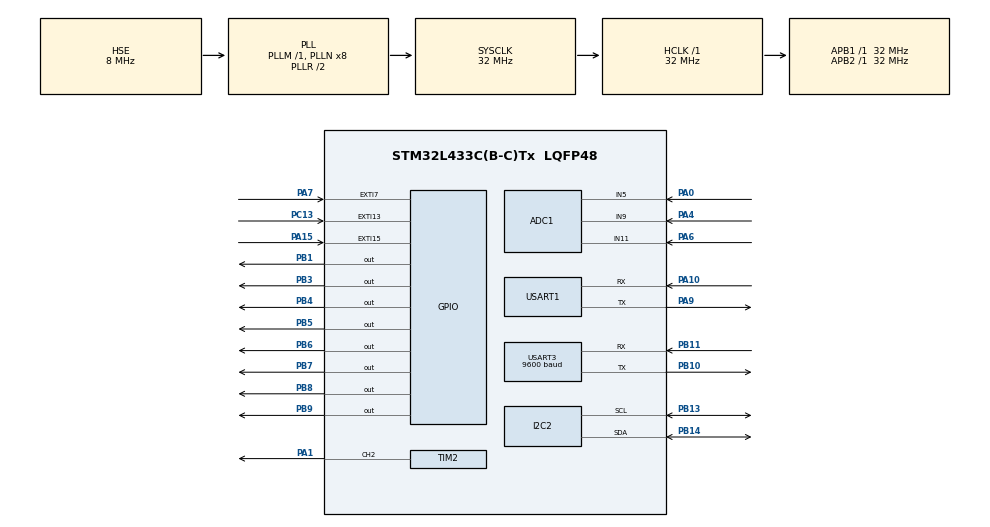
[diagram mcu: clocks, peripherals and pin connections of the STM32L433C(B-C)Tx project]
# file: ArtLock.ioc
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ADC1.Channel-0\#ChannelRegularConversion=ADC_CHANNEL_9
ADC1.Channel-1\#ChannelRegularConversion=ADC_CHANNEL_11
ADC1.Channel-2\#ChannelRegularConversion=ADC_CHANNEL_5
ADC1.ContinuousConvMode=ENABLE
ADC1.DMAContinuousRequests=ENABLE
ADC1.NbrOfConversion=3
ADC1.NbrOfConversionFlag=1
ADC1.OffsetNumber-0\#ChannelRegularConversion=ADC_OFFSET_NONE
ADC1.OffsetNumber-1\#ChannelRegularConversion=ADC_OFFSET_NONE
ADC1.OffsetNumber-2\#ChannelRegularConversion=ADC_OFFSET_NONE
ADC1.Rank-0\#ChannelRegularConversion=1
ADC1.Rank-1\#ChannelRegularConversion=2
ADC1.Rank-2\#ChannelRegularConversion=3
ADC1.SamplingTime-0\#ChannelRegularConversion=ADC_SAMPLETIME_2CYCLES_5
ADC1.SamplingTime-1\#ChannelRegularConversion=ADC_SAMPLETIME_2CYCLES_5
ADC1.SamplingTime-2\#ChannelRegularConversion=ADC_SAMPLETIME_2CYCLES_5
ADC1.master=1
Dma.ADC1.0.Direction=DMA_PERIPH_TO_MEMORY
Dma.ADC1.0.Instance=DMA1_Channel1
Dma.ADC1.0.MemDataAlignment=DMA_MDATAALIGN_HALFWORD
Dma.ADC1.0.MemInc=DMA_MINC_ENABLE
Dma.ADC1.0.Mode=DMA_NORMAL
Dma.ADC1.0.PeriphDataAlignment=DMA_PDATAALIGN_HALFWORD
Dma.ADC1.0.PeriphInc=DMA_PINC_DISABLE
Dma.ADC1.0.Priority=DMA_PRIORITY_LOW
Dma.Request0=ADC1
I2C2.Timing=0x00707CBB
Mcu.Family=STM32L4
Mcu.Name=STM32L433C(B-C)Tx
Mcu.Package=LQFP48
NVIC.DMA1_Channel1_IRQn=true\:0\:0\:false\:false\:true\:false\:true
NVIC.EXTI15_10_IRQn=true\:4\:0\:true\:false\:true\:true\:true
NVIC.PriorityGroup=NVIC_PRIORITYGROUP_4
NVIC.USART1_IRQn=true\:3\:0\:true\:false\:true\:true\:true
NVIC.USART3_IRQn=true\:1\:0\:true\:false\:true\:true\:true
PA0.Signal=ADCx_IN5
PA1.Signal=S_TIM2_CH2
PA10.Mode=Asynchronous
PA10.Signal=USART1_RX
PA13\ (JTMS-SWDIO).Mode=Serial_Wire
PA13\ (JTMS-SWDIO).Signal=SYS_JTMS-SWDIO
PA14\ (JTCK-SWCLK).Mode=Serial_Wire
PA14\ (JTCK-SWCLK).Signal=SYS_JTCK-SWCLK
PA15\ (JTDI).GPIO_PuPd=GPIO_PULLUP
PA15\ (JTDI).Signal=GPXTI15
PA4.Signal=ADCx_IN9
PA6.Signal=ADCx_IN11
PA7.GPIO_PuPd=GPIO_PULLUP
PA7.Signal=GPXTI7
PA9.Mode=Asynchronous
PA9.Signal=USART1_TX
PB1.Signal=GPIO_Output
PB10.Mode=Asynchronous
PB10.Signal=USART3_TX
PB11.Mode=Asynchronous
PB11.Signal=USART3_RX
PB13.Mode=I2C
PB13.Signal=I2C2_SCL
PB14.Mode=I2C
PB14.Signal=I2C2_SDA
PB3\ (JTDO-TRACESWO).Signal=GPIO_Output
PB4\ (NJTRST).PinState=GPIO_PIN_RESET
PB4\ (NJTRST).Signal=GPIO_Output
PB5.PinState=GPIO_PIN_SET
PB5.Signal=GPIO_Output
PB6.PinState=GPIO_PIN_SET
PB6.Signal=GPIO_Output
PB7.PinState=GPIO_PIN_SET
PB7.Signal=GPIO_Output
PB8.Signal=GPIO_Output
PB9.Signal=GPIO_Output
PC13.GPIO_PuPd=GPIO_PULLUP
PC13.Signal=GPXTI13
PC14-OSC32_IN\ (PC14).Mode=LSE-External-Oscillator
PC14-OSC32_IN\ (PC14).Signal=RCC_OSC32_IN
PC15-OSC32_OUT\ (PC15).Mode=LSE-External-Oscillator
PC15-OSC32_OUT\ (PC15).Signal=RCC_OSC32_OUT
PH0-OSC_IN\ (PH0).Mode=HSE-External-Oscillator
PH0-OSC_IN\ (PH0).Signal=RCC_OSC_IN
PH1-OSC_OUT\ (PH1).Mode=HSE-External-Oscillator
PH1-OSC_OUT\ (PH1).Signal=RCC_OSC_OUT
ProjectManager.HeapSize=0x200
ProjectManager.StackSize=0x400
ProjectManager.TargetToolchain=STM32CubeIDE
RCC.ADCFreq_Value=64000000
RCC.AHBFreq_Value=32000000
RCC.APB1Freq_Value=32000000
RCC.APB1TimFreq_Value=32000000
RCC.APB2Freq_Value=32000000
RCC.APB2TimFreq_Value=32000000
RCC.CortexFreq_Value=32000000
RCC.HCLKFreq_Value=32000000
RCC.HSE_VALUE=8000000
RCC.HSI48_VALUE=48000000
RCC.HSI_VALUE=16000000
RCC.MSI_VALUE=4000000
RCC.PLLSAI1N=16
RCC.PLLSourceVirtual=RCC_PLLSOURCE_HSE
RCC.SYSCLKFreq_VALUE=32000000
RCC.SYSCLKSource=RCC_SYSCLKSOURCE_PLLCLK
RCC.USBFreq_Value=64000000
RCC.VCOOutputFreq_Value=64000000
SH.ADCx_IN11.0=ADC1_IN11,IN11-Single-Ended
SH.ADCx_IN5.0=ADC1_IN5,IN5-Single-Ended
SH.ADCx_IN9.0=ADC1_IN9,IN9-Single-Ended
SH.S_TIM2_CH2.0=TIM2_CH2,PWM Generation2 CH2
TIM2.Channel-PWM\ Generation2\ CH2=TIM_CHANNEL_2
TIM2.Period=370-1
TIM2.Prescaler=32-1
TIM2.Pulse-PWM\ Generation2\ CH2=180
USART1.VirtualMode-Asynchronous=VM_ASYNC
USART3.BaudRate=9600
USART3.VirtualMode-Asynchronous=VM_ASYNC
board=custom

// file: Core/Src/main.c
/* USER CODE BEGIN Header */
/**
 ******************************************************************************
 * @file           : main.c
 * @brief          : Main program body
 ******************************************************************************
 * @attention
 *
 * <h2><center>&copy; Copyright (c) 2019 STMicroelectronics.
 * All rights reserved.</center></h2>
 *
 * This software component is licensed by ST under BSD 3-Clause license,
 * the "License"; You may not use this file except in compliance with the
 * License. You may obtain a copy of the License at:
 *                        opensource.org/licenses/BSD-3-Clause
 *
 ******************************************************************************
 */
/* USER CODE END Header */

#include "main.h"
#include "adc.h"
#include "dma.h"
#include "i2c.h"
#include "tim.h"
#include "usart.h"
#include "gpio.h"

/* USER CODE BEGIN Includes */
#include <stdio.h>
#include <string.h>
#include <stdlib.h>
#include "oled.h"
#include "nbiot.h"
/* USER CODE END Includes */

void SystemClock_Config(void);

/* USER CODE BEGIN 0 */
int KE1_Parse_NNMI(char *pcNNMI, char *pcOut)
{
	char ch = 0, lenFlag = 0, dataFlag = 0;
	char acLen[5] = {0};
	int i = 0, pos = 0, dLen = 0;
	//+NNMI:6,010009020000
	for(i=0; i<strlen(pcNNMI); i++){
		ch = pcNNMI[i];
		if(0x0D == ch && 1 == dataFlag) break;

		if(':' == ch){
			lenFlag = 1; pos = 0;
			continue;
		}
		if(',' == ch){
			lenFlag = 0;
			dataFlag = 1; pos = 0;
			dLen = atoi(acLen);
			continue;
		}
		if(1 == lenFlag){
			acLen[pos++] = ch;
		}
		if(1 == dataFlag){
			pcOut[pos++] = ch;
		}
	}
	return dLen;
}

void ascii2hex(char *pcAscii, char *pcHex)
{
	int iDlen = 0, i = 0, pos = 0;
	iDlen = strlen(pcAscii);
	if(128 < iDlen) return;
	for(i=0; i<iDlen; i++){
		sprintf(&pcHex[pos], "%02X", pcAscii[i]);
		pos += 2;
	}
}
extern unsigned char fingerprint, boxstate, autobeep;
// 是否开启自动报警，默认开。指纹认证后十分钟内关闭，或关上盖子关闭
unsigned char low_alarm = 1;
// 认证ing
unsigned char authing = 0;
// 认证过
unsigned char authed = 0;

char acDevInfo[128] = {0}, acHexBuf[256] = {0}, acAtBuf[512] = {0}, acUserCmd[64] = {0};
float tMax, tMin, hMax, hMin, iMax, iMin;

// 网络任务事件
uint32_t nettickstart;

// 控制灯光
unsigned char rstate = 0, gstate = 0, bstate = 0;
typedef enum{
	RED_LIGHT = 0x0020,
	GREEN_LIGHT = 0x0040,
	BLUE_LIGHT = 0x0080
}SELF_LIGHT;
void switch_light(SELF_LIGHT light, int st){
	unsigned char flag = 1;
	switch(light){
	case RED_LIGHT:
		if(rstate == st){
			flag = 0;
		}
		break;
	case GREEN_LIGHT:
		if(gstate == st){
			flag = 0;
		}
		break;
	case BLUE_LIGHT:
		if(bstate == st){
			flag = 0;
		}
		break;
	}
	if (flag == 1){
		HAL_GPIO_TogglePin(GPIOB, ((uint16_t)light));
	}
}

// 延时时间队列，延时记录为毫秒
typedef struct eventlist
{
	uint32_t time;
	void(*p)();
	struct eventlist *next;
} EventList;

EventList * DelayEvent;
// 添加延时行为，单位为毫秒
void addEvent(int microseconds, void(*ev)()){
    EventList* head = DelayEvent;

    uint32_t current = HAL_GetTick() + microseconds;
    EventList *node = (EventList *)malloc(sizeof(EventList));
    node->time = current;
    node->p = ev;
    node->next = NULL;

    if (NULL == head)
    {
        DelayEvent = node;
    } else
    {
        if (head->time > current)
        {
            node->next = head;
            DelayEvent = node;
            return;
        }
        while(head->next != NULL){     //当头节点的指针域不为NULL
            if (head->next->time > current)
            {
                node->next = head->next;
                head->next = node;
                return;
            }
            head = head->next;             //pr指向下一个节点的地址
        }
        head->next = node;
    }
}
// 执行延时行为
void executEvent(){
    uint32_t current = HAL_GetTick();
	if (NULL == DelayEvent)
	{
		return;
	}
    if (current >= DelayEvent->time)
    {
        DelayEvent->p();
		EventList *node = DelayEvent;
        DelayEvent = DelayEvent->next;
		free(node);
    }
}

void undoAuthing(){
	authing = 0;
}

void undoAuthed(){
	authed = 0;
}
/* USER CODE END 0 */

int main(void)
{
  /* USER CODE BEGIN 1 */
	const char *pcVersion = "V0.1.7";
	float fTemp = 34.2, fHumi = 0.0;
	unsigned short usLight = 0, usSound = 0, usVoltage = 0;

	int iUserCase = 0, iRet = -1, tryCnt = 0, iSigVal = 0;

	char netFlag = 0, cmdLen = 0, acSigVal[3] = {0};

	unsigned int atLen = 0, dLen = 0, timeout = 1000, upDevFreq = 0, upNetFreq = 0;
	int nbSP = 0, nbCCID = 0, nbSNR = 0;
	unsigned char nbECL = 0;

  /* USER CODE END 1 */

  /* MCU Configuration--------------------------------------------------------*/

  /* Reset of all peripherals, Initializes the Flash interface and the Systick. */
  HAL_Init();

  /* USER CODE BEGIN Init */
	nettickstart = HAL_GetTick();
  /* USER CODE END Init */

  /* Configure the system clock */
  SystemClock_Config();

  /* Initialize all configured peripherals */
  MX_GPIO_Init();
  MX_DMA_Init();
  MX_ADC1_Init();
  MX_USART1_UART_Init();
  MX_USART3_UART_Init();
  MX_I2C2_Init();
  MX_TIM2_Init();
  /* USER CODE BEGIN 2 */
//	Beep_Switch(1);
//	HAL_Delay(500);
//	Beep_Switch(0);

	UART_Enable_Receive_IT();// 使能串口接收中断，开始接收数???

	OLED_Init(); // 初始化OLDE

	OLED_DrawLogo(); // 显示bmp单色logo图片
	HAL_Delay(2000);

	OLED_ShowKE1(); // 显示 小熊座KE1
	OLED_ShowString(0, 3, (uint8_t *)pcVersion, 6);
	HAL_Delay(2000);
	printf("Hello! i am KE1 south demo %s\r\n",pcVersion);

	KE1_I2C_SHT31(&fTemp, &fHumi);
	printf("T:%0.2f,H:%0.2f\r\n", fTemp, fHumi);

	KE1_Send_AT("AT\r\n"); atLen = sizeof(acAtBuf);
	iRet = KE1_Recv_AT(acAtBuf, &atLen, 1000);

	if(0 == fHumi || 0 == iRet){
		printf("I2C or AT NVIC_SystemReset\n");
		NVIC_SystemReset();//无法读取I2C�??????AT没有响应则MCU 重启
	}

	OLED_Clear();

	tryCnt = 120;
  /* USER CODE END 2 */

  /* Infinite loop */
	while (1)
	{

    /* USER CODE BEGIN 3 */
		if(0 == netFlag){
			OLED_Show_Note(NULL, 1, tryCnt);
			if(0 != tryCnt) {
				tryCnt--;
			}else{
				OLED_Show_Note("reg err", 0, 0);
				if(NB_OK == nbiot_reboot(10)){
					iUserCase = NB_STEP_BUFF_CLEAR;tryCnt = 120;
				}else{
					NVIC_SystemReset();
				}
			}
		}else{
			if(0 < iSigVal && 32 > iSigVal){
				OLED_Show_Note(NULL, 2, iSigVal);
			}else if(99 == iSigVal){
				OLED_Show_Note("no net", 0, 0);
			}
		}

		// 判断温度湿度等是否正常，显示灯
		KE1_I2C_SHT31(&fTemp, &fHumi); // 采集温湿??
		KE1_ADC_Senser_Get(&usLight, &usSound, &usVoltage);//采集光强和噪??
		if(0 < fHumi){
			OLED_ShowT_H(fTemp, fHumi);
		}
		if(fTemp < tMin || fTemp > tMax)
		{
			switch_light(RED_LIGHT, 1);
		} else {
			switch_light(RED_LIGHT, 0);
		}
		if(fHumi < tMin || fHumi > tMax)
		{
			switch_light(BLUE_LIGHT, 1);
		} else {
			switch_light(BLUE_LIGHT, 0);
		}
		if(usLight < iMin || usLight > iMax)
		{
			switch_light(GREEN_LIGHT, 1);
		} else {
			switch_light(GREEN_LIGHT, 0);
		}
		// 判断结束

		// 判断是否需要报警
		if (1 == authing && 1 == fingerprint)
		{
			fingerprint = 0;
			authed = 1;
			authing = 0;
			addEvent(10 * 60 * 1000, undoAuthed);
		}
		if (0 == authed)
		{
			if ((1 == autobeep || 1 == boxstate) && 1 == low_alarm)
			{
				if (1 == fingerprint)
				{
					autobeep = 0;
					fingerprint = 0;
					Beep_Switch(0);
				} else {
					Beep_Switch(1);
				}
			}
		} else
		{
			if (0 == boxstate)
			{
				authed = 0;
			}
		}
		if (1 == fingerprint)
		{
			fingerprint = 0;
		}
		// 结束报警检测

		// 执行延时任务
		executEvent();

		timeout = 500;
		switch(iUserCase){
			case NB_STEP_BUFF_CLEAR:
				KE1_Clear_AT_Buf();
				iUserCase = NB_STEP_CHECK_AT;
				continue;
			case NB_STEP_CHECK_AT:
				KE1_Send_AT("ATE1\r\n");// ??启模块AT命令回显功能
				break;
			case NB_STEP_CHECK_REG:
				if(NB_OK == nbiot_check_reg(3)){// ??查模块网络注册情??
					iUserCase = NB_STEP_UP_REG_INFO;
					netFlag = 1;
				}else{
					iUserCase = NB_STEP_STOP_MODULE;
				}
				break;
			case NB_STEP_STOP_MODULE:
				KE1_Send_AT("AT+CFUN=0\r\n"); // 关闭模组
				timeout = 10000;
				break;
			case NB_STEP_SET_COAP:
				KE1_Send_AT("AT+NCDP=180.101.147.115,5683\r\n"); // 设置电信物联网南向接口地??
				break;
			case NB_STEP_START_MODULE:
				KE1_Send_AT("AT+CFUN=1\r\n"); // 启动模块
				timeout = 10000;
				break;
			case NB_STEP_SET_PDP:
				KE1_Send_AT("AT+CGDCONT=1,\"IP\",\"CTNB\"\r\n"); // 设置PDP
				break;
			case NB_STEP_SIM_CHECK: //??查SIM是否存在
				KE1_Send_AT("AT+CIMI\r\n");
				break;
			case NB_STEP_START_REG:
				KE1_Send_AT("AT+CGATT=1\r\n"); // 启动网络附着
				break;
			case NB_STEP_SET_AUTO_REG:
				KE1_Send_AT("AT+QREGSWT=1\r\n"); // 网络自动注册
				break;
			case NB_STEP_WAITING_REG_OK:
				HAL_Delay(1000);
				KE1_Send_AT("AT+CGATT?\r\n"); // �???查网络注册状�???
				break;
			case NB_STEP_UP_REG_INFO:
				if(1 == netFlag && 0 == upNetFreq){
					nbiot_get_signl_val(acSigVal);iSigVal = atoi(acSigVal); printf("Signal:%d\r\n", iSigVal);

					tryCnt = 0;
					OLED_Show_UP_Flag(1);
					/*
					 * 	上报的无线参�??????必须在数据范围内才算有效数据，数据范围要�??????
						1. 信号强度，上报范围应???-140???-40之间
						2. 覆盖等级，上报范围应???0???2之间
						3. 信噪比，上报范围应在-20???30之间
						4. 小区ID，上报范围应???0???2147483647之间
					 * AT样例: AT+NMGS=11,03FFFFFFA608F651550E01
						平台JSON???: {"SignalPower":-90,"CellID":150360405,"SNR":14,"ECL":1}
					 * */
					memset(acAtBuf, 0, sizeof(acAtBuf));
					nbiot_get_nuestats(&nbSP, &nbSNR, &nbCCID, &nbECL);

					printf("Signal:%d, %d, %d, %d\r\n", nbSP, nbCCID, nbSNR, nbECL);

					snprintf(acAtBuf, sizeof(acAtBuf), "AT+NMGS=14,03%08X%08X%08X%02X\r\n", nbSP, nbCCID, nbSNR, nbECL);// 打包模组信号强度参数
					KE1_Send_AT(acAtBuf);// �??????�??????
					upNetFreq = (60*60)*2;
				}

				break;
			case NB_STEP_UP_DEV_INFO:
				tryCnt++;
				if(10 == tryCnt || (1 == netFlag && 0 == upDevFreq)){
					tryCnt = 0;
					nbiot_get_signl_val(acSigVal);iSigVal = atoi(acSigVal); printf("Signal:%d\r\n", iSigVal);
				}

				if(1 == netFlag && 0 == upDevFreq){
					memset(acDevInfo, 0, sizeof(acDevInfo));
					memset(acAtBuf, 0, sizeof(acAtBuf));

					dLen = snprintf(acDevInfo, sizeof(acDevInfo), "{\"T\":\"%0.2f\",\"H\":\"%0.2f\",\"L\":\"%d\",\"S\":\"%d\",\"V\":\"%d\",\"NB\":\"%d\"}", fTemp, fHumi, usLight,usSound,usVoltage,iSigVal);// 打包设备传感器数???
					printf("%s\r\n", acDevInfo);
					if(0 < fHumi){
						OLED_Show_UP_Flag(1);
						ascii2hex(acDevInfo, acHexBuf);
						snprintf(acAtBuf, sizeof(acAtBuf), "AT+NMGS=%d,00%04X%s\r\n", (dLen+3), dLen, acHexBuf);// 打包COAP数据包AT命令
						//printf("%s\r\n", acAtBuf);
						KE1_Send_AT(acAtBuf);
					}
					// 上传事件的时间
					upDevFreq = 5;
				}
				break;
		}

		atLen = sizeof(acAtBuf);
		iRet = KE1_Recv_AT(acAtBuf, &atLen, timeout);
		//printf("RAT:%d-%d\r\n",iRet, timeout);

		if(0 == iRet){//AT命令响应超时
			HAL_GPIO_TogglePin(GPIOB, GPIO_PIN_4);
		}else if(1 == iRet){//AT命令接收到OK响应
			if(NB_STEP_WAITING_REG_OK > iUserCase){
				iUserCase++;
				//HAL_Delay(1000);
			}
		}else if(2 == iRet){//AT命令接收到ERROR响应
			printf("AT error !\r\n");
			if(NB_STEP_START_MODULE == iUserCase || NB_STEP_SIM_CHECK == iUserCase){
				OLED_Show_Note("NO SIM", 0, 0);
			}
			if(NB_STEP_UP_REG_INFO == iUserCase){
				OLED_Show_Note("NO Reg", 0, 0);
			}
			do{ // 报警
				HAL_Delay(200);
				HAL_GPIO_TogglePin(GPIOB, GPIO_PIN_6);
			}while(1);

		}else if(3 == iRet){//接收到网络已注册提示
			printf("Net ready !\r\n");
			netFlag = 1;
			OLED_Show_Note("Net OK", 0, 0);
			HAL_Delay(3000);
			iUserCase = NB_STEP_UP_REG_INFO;
		}else if(4 == iRet){//AT命令接收到电信物联网平台下发数据
			printf("%s", acAtBuf);
			memset(acUserCmd, 0, sizeof(acUserCmd));
			cmdLen = KE1_Parse_NNMI(acAtBuf, acUserCmd);

			if(strstr(acUserCmd, "AAAA0000")){
				printf("device info upload successfully\r\n");
				OLED_Show_UP_Flag(0);
			}else if(strstr(acUserCmd, "CCCC0000")){
				printf("Module connectivity upload successfully\r\n");
				iUserCase = NB_STEP_UP_DEV_INFO;
				OLED_Show_UP_Flag(0);
			}else{
				printf("user data[%d]:%s\r\n", cmdLen, acUserCmd);
				/*
				 * 解析用户命令执行对应操作
				 * TO-DO
				 */

				int cmd_num = hex2dec(acUserCmd[6], acUserCmd[7]);
				// printf("````````````````````````````````````````\n%d\n", cmd_num);
				switch (cmd_num)
				{
				case 1: // 授权开始
					authing = 1;
					addEvent(20 * ,000, undoAuthing);
					break;
				case 2: // 打开自动报警
					low_alarm = 1;
					printf("auto up!\n");
					break;
				case 3: // 关闭自动报警
					low_alarm = 0;
					break;
				case 4: // 更新温度警报值
					float min_tem = (hex2dec(acUserCmd[12], acUserCmd[13]) - 48) * 10.0 + (hex2dec(acUserCmd[14], acUserCmd[15]) - 48) * 1.0;
					float max_tem = (hex2dec(acUserCmd[16], acUserCmd[17]) - 48) * 10.0 + (hex2dec(acUserCmd[18], acUserCmd[19]) - 48) * 1.0;
					tMax = max_tem;
					tMin = min_tem;
					printf("change limit!\n");
					printf("tMin:%.2f   tMax:%.2f\n", tMin, tMax);
					break;
				case 5: // 更新湿度警告
					float min_hum = (hex2dec(acUserCmd[12], acUserCmd[13]) - 48) * 10.0 + (hex2dec(acUserCmd[14], acUserCmd[15]) - 48) * 1.0;
					float max_hum = (hex2dec(acUserCmd[16], acUserCmd[17]) - 48) * 10.0 + (hex2dec(acUserCmd[18], acUserCmd[19]) - 48) * 1.0;
					hMax = max_hum;
					hMin = min_hum;
					printf("change limit!\n");
					printf("hMin:%.2f    hMax:%.2f", hMin, hMax);
					break;
				case 6: // 更新光度警告
					float min_ins = (hex2dec(acUserCmd[12], acUserCmd[13]) - 48) * 10.0 + (hex2dec(acUserCmd[14], acUserCmd[15]) - 48) * 1.0;
					float max_ins = (hex2dec(acUserCmd[16], acUserCmd[17]) - 48) * 10.0 + (hex2dec(acUserCmd[18], acUserCmd[19]) - 48) * 1.0;
					iMax = max_ins;
					iMin = min_ins;
					printf("change limit!\n");
					printf("iMin:%.2f    iMax:%.2f", iMin, iMax);
					break;
				}

				if (1 == authed)
				{
					OLED_Show_Note("AUTHED", 0, 0);
				}
				if (1 == authing)
				{
					OLED_Show_Note("AUTHING", 0, 0);
				}

				HAL_GPIO_TogglePin(GPIOB, GPIO_PIN_5|GPIO_PIN_6|GPIO_PIN_7);
				HAL_Delay(1000);
				if(0x33 == acUserCmd[7]){
					HAL_GPIO_TogglePin(GPIOB, GPIO_PIN_1);
				}else if(0x34 == acUserCmd[7]){
					HAL_GPIO_TogglePin(GPIOB, GPIO_PIN_3);
				}
				/* 向平台发送命令响????
				 * AT+NMGS=5,02000A000A
				 */
				acUserCmd[1] = '2';
				acUserCmd[6] = '0';acUserCmd[7] = '0';acUserCmd[8] = '0';acUserCmd[9] = '0';acUserCmd[10] = 0;
				printf("CmdResp:%s\r\n", acUserCmd);
				snprintf(acAtBuf, sizeof(acAtBuf), "AT+NMGS=%d,%s\r\n", 5, acUserCmd);// 打包COAP数据包AT命令
				KE1_Send_AT(acAtBuf);
			}

		}else{
			if(-2 == iRet){// UART error
				NVIC_SystemReset();
			}
		}

		if (HAL_GetTick() - nettickstart > 1000){
			nettickstart = HAL_GetTick();
			if(0 != upNetFreq) {
				upNetFreq--;
				if(0 == upNetFreq){iUserCase = NB_STEP_UP_REG_INFO;}
			}
			if(0 != upDevFreq) upDevFreq--;
		}
	}
	HAL_GPIO_WritePin(GPIOA,GPIO_PIN_7,GPIO_PIN_SET);
	HAL_Delay(1000);
	HAL_GPIO_WritePin(GPIOA,GPIO_PIN_7,GPIO_PIN_RESET);
	HAL_Delay(1000);

  /* USER CODE END 3 */
}

void SystemClock_Config(void)
{
  RCC_OscInitTypeDef RCC_OscInitStruct = {0};
  RCC_ClkInitTypeDef RCC_ClkInitStruct = {0};
  RCC_PeriphCLKInitTypeDef PeriphClkInit = {0};

  /** Initializes the CPU, AHB and APB busses clocks
  */
  RCC_OscInitStruct.OscillatorType = RCC_OSCILLATORTYPE_HSE;
  RCC_OscInitStruct.HSEState = RCC_HSE_ON;
  RCC_OscInitStruct.PLL.PLLState = RCC_PLL_ON;
  RCC_OscInitStruct.PLL.PLLSource = RCC_PLLSOURCE_HSE;
  RCC_OscInitStruct.PLL.PLLM = 1;
  RCC_OscInitStruct.PLL.PLLN = 8;
  RCC_OscInitStruct.PLL.PLLP = RCC_PLLP_DIV7;
  RCC_OscInitStruct.PLL.PLLQ = RCC_PLLQ_DIV2;
  RCC_OscInitStruct.PLL.PLLR = RCC_PLLR_DIV2;
  if (HAL_RCC_OscConfig(&RCC_OscInitStruct) != HAL_OK)
  {
    Error_Handler();
  }
  /** Initializes the CPU, AHB and APB busses clocks
  */
  RCC_ClkInitStruct.ClockType = RCC_CLOCKTYPE_HCLK|RCC_CLOCKTYPE_SYSCLK
                              |RCC_CLOCKTYPE_PCLK1|RCC_CLOCKTYPE_PCLK2;
  RCC_ClkInitStruct.SYSCLKSource = RCC_SYSCLKSOURCE_PLLCLK;
  RCC_ClkInitStruct.AHBCLKDivider = RCC_SYSCLK_DIV1;
  RCC_ClkInitStruct.APB1CLKDivider = RCC_HCLK_DIV1;
  RCC_ClkInitStruct.APB2CLKDivider = RCC_HCLK_DIV1;

  if (HAL_RCC_ClockConfig(&RCC_ClkInitStruct, FLASH_LATENCY_1) != HAL_OK)
  {
    Error_Handler();
  }
  PeriphClkInit.PeriphClockSelection = RCC_PERIPHCLK_USART1|RCC_PERIPHCLK_USART3
                              |RCC_PERIPHCLK_I2C2|RCC_PERIPHCLK_ADC;
  PeriphClkInit.Usart1ClockSelection = RCC_USART1CLKSOURCE_PCLK2;
  PeriphClkInit.Usart3ClockSelection = RCC_USART3CLKSOURCE_PCLK1;
  PeriphClkInit.I2c2ClockSelection = RCC_I2C2CLKSOURCE_PCLK1;
  PeriphClkInit.AdcClockSelection = RCC_ADCCLKSOURCE_PLLSAI1;
  PeriphClkInit.PLLSAI1.PLLSAI1Source = RCC_PLLSOURCE_HSE;
  PeriphClkInit.PLLSAI1.PLLSAI1M = 1;
  PeriphClkInit.PLLSAI1.PLLSAI1N = 16;
  PeriphClkInit.PLLSAI1.PLLSAI1P = RCC_PLLP_DIV7;
  PeriphClkInit.PLLSAI1.PLLSAI1Q = RCC_PLLQ_DIV2;
  PeriphClkInit.PLLSAI1.PLLSAI1R = RCC_PLLR_DIV2;
  PeriphClkInit.PLLSAI1.PLLSAI1ClockOut = RCC_PLLSAI1_ADC1CLK;
  if (HAL_RCCEx_PeriphCLKConfig(&PeriphClkInit) != HAL_OK)
  {
    Error_Handler();
  }
  /** Configure the main internal regulator output voltage
  */
  if (HAL_PWREx_ControlVoltageScaling(PWR_REGULATOR_VOLTAGE_SCALE1) != HAL_OK)
  {
    Error_Handler();
  }
}

void Error_Handler(void)
{
}

/************************ (C) COPYRIGHT STMicroelectronics *****END OF FILE****/
